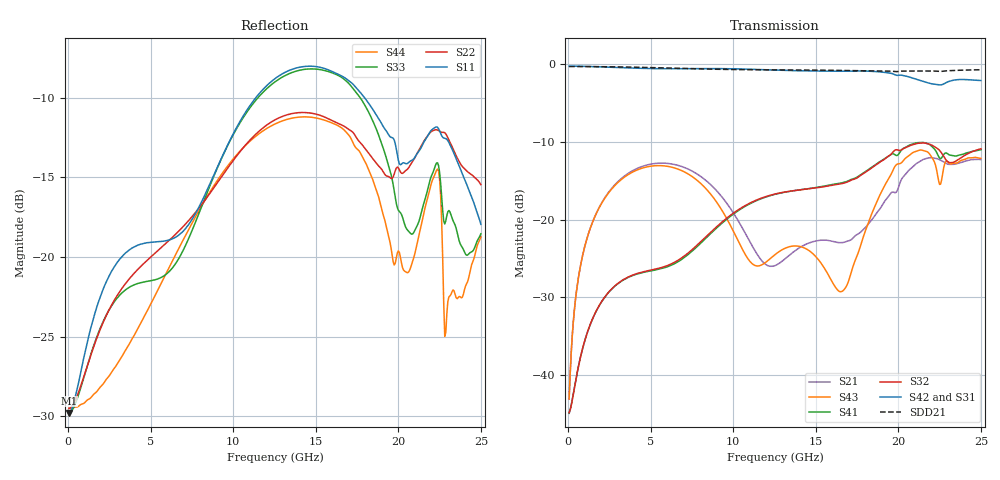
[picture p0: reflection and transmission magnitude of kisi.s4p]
! BV_ts_m2_per0_q070f25s: /TS-USB4 Components/M2_PER0_P via F.Cu→In3.Cu at (161.287, 130.742) with its partner
! stackup: Thunderscope_Rev5.3 from the board file and its kisi.json
! ports: 1 P in, 2 N in, 3 P out, 4 N out
! kisi-fdtd, conformal, dfine 0.07 mm, 338580 cells
# Hz S RI R 50
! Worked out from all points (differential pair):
!   400 points, 62.5 MHz to 25 GHz, reference 50 ohm
!   strongest paths, dB at 62.5 MHz, 6.312 GHz, 12.56 GHz, 18.81 GHz, 25 GHz:
!     S42: -0.3, -0.6, -0.8, -1.0, -2.1
!     S31: -0.3, -0.6, -1.1, -1.2, -2.0
!     S32: -44.8, -25.6, -16.7, -12.7, -10.9
!     S41: -44.9, -25.8, -16.7, -12.6, -11.0
!     S43: -43.0, -13.3, -24.4, -17.2, -12.1
!     S21: -43.0, -12.9, -25.9, -18.8, -12.3
!   taken as a pair (ports 2,1 in; 4,3 out), SDD21 dB: -0.3, -0.5, -0.8, -0.9, -0.8
!   lowest |S11| = -29.8 dB at 62.5 MHz (marker M1), VSWR 1.07, Z = 46.9 + j0.282 ohm
!   |S11| at or under -10 dB: start of sweep to 11.37 GHz; 17.96 GHz to end of sweep
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6.25e7  -0.0323 0.00301  0.00576 0.00405  0.9675 -0.0196  0.00566 -0.00124
        0.00572 0.00412  -0.0334 0.00221  0.00565 -0.00121  0.9664 -0.0195
        0.9675 -0.0196  0.00563 -0.00119  -0.0322 0.0028  0.00571 0.00415
        0.00559 -0.00113  0.9663 -0.0194  0.00574 0.0041  -0.0334 0.00211
8.125e8  -0.0251 0.0369  0.0199 0.0508  0.9322 -0.2516  0.000487 -0.014
         0.0198 0.0508  -0.0289 0.0277  0.000546 -0.0139  0.9319 -0.2495
         0.9322 -0.2516  0.000536 -0.014  -0.0208 0.0337  0.0196 0.0509
         0.000437 -0.0139  0.9319 -0.2494  0.0196 0.0509  -0.0244 0.0244
2.625e9  0.0242 0.0867  0.1228 0.0994  0.6324 -0.7088  -0.0305 -0.0185
         0.1229 0.0993  0.0029 0.0704  -0.0304 -0.0188  0.6367 -0.7063
         0.6325 -0.7087  -0.0304 -0.0187  0.0522 0.0468  0.1197 0.1007
         -0.0305 -0.0184  0.6367 -0.7063  0.1197 0.1007  0.0325 0.0288
9.5625e9  0.1086 0.1904  0.0337 -0.1249  -0.9178 -0.1146  -0.0256 0.0963
          0.0337 -0.1249  0.1174 0.1455  -0.0265 0.0977  -0.9211 -0.1393
          -0.9178 -0.1145  -0.0265 0.0977  -0.151 0.1578  0.042 -0.0947
          -0.0256 0.0963  -0.9211 -0.1393  0.042 -0.0947  -0.1593 0.1038
1.55e10  0.3888 -0.0434  0.0119 -0.0729  0.121 0.8497  0.1584 -0.0422
         0.0119 -0.0728  0.2737 -0.0323  0.1578 -0.0391  0.1305 0.889
         0.121 0.8496  0.1579 -0.0391  0.3811 -0.0579  0.0144 -0.0471
         0.1584 -0.0423  0.1305 0.889  0.0144 -0.047  0.2668 -0.0358
1.95625e10  0.1777 -0.1576  -0.0798 0.1251  0.854 0.0832  0.0177 -0.2617
            -0.0796 0.1252  0.1608 -0.0729  0.0379 -0.2606  0.8676 0.0631
            0.8541 0.0836  0.0376 -0.2604  0.00329 -0.1813  0.0112 0.1947
            0.0174 -0.2623  0.8678 0.0629  0.0106 0.1951  -4.75e-05 -0.1065
2.5e10  0.0351 -0.1217  0.2423 -0.0195  0.00526 -0.7981  -0.2639 0.0959
        0.242 -0.0199  0.0441 -0.1629  -0.2756 0.0725  0.00801 -0.7819
        0.00453 -0.7975  -0.2756 0.072  -0.017 -0.1171  0.2352 -0.0772
        -0.2637 0.0966  0.00799 -0.7819  0.2351 -0.077  -0.0201 -0.114
